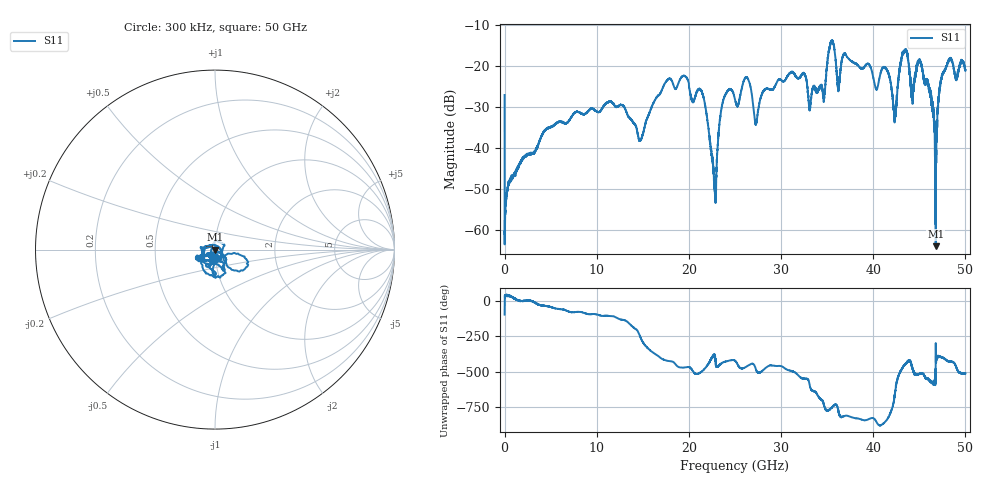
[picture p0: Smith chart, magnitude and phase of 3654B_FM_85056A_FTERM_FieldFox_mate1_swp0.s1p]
!Created with skrf (http://scikit-rf.org).
# Hz S RI R 50.0
!freq ReS11 ImS11
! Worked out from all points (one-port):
!   10001 points, 300 kHz to 50 GHz, reference 50 ohm
!   lowest |S11| = -63.9 dB at 46.78 GHz (marker M1), VSWR 1.00, Z = 50 - j0.0607 ohm
!   |S11| at or under -10 dB: start of sweep to end of sweep
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300000  -0.00543 -0.0438
2.552985e8  0.00226 0.00189
6.250262e9  0.0104 -0.0179
1.250022e10  -0.0213 -0.0257
1.474021e10  -0.00286 0.0124
1.875019e10  -0.0107 -0.056
2.141517e10  -0.035 -0.0328
2.279516e10  0.0035 -0.0014
2.371016e10  0.011 -0.0357
2.500015e10  0.0185 -0.0345
2.631514e10  -0.0128 -0.0707
2.729014e10  -0.0116 -0.0161
3.125011e10  -0.0608 -0.0574
3.31451e10  -0.014 0.0283
3.465009e10  0.0409 -0.00712
3.546509e10  0.1671 -0.1081
3.622008e10  0.0273 -0.0406
3.750008e10  -0.0106 -0.1158
4.136505e10  -0.0552 -0.0754
4.233505e10  0.0115 0.0219
4.313504e10  -0.0579 -0.124
4.375004e10  0.0471 -0.117
4.424003e10  -0.0151 -0.0444
4.498003e10  -0.1087 -0.0477
4.596502e10  -0.058 0.013
4.678002e10  -0.000195 -0.000607
4.760501e10  0.0618 -0.0551
5e10  -0.0774 -0.0427
